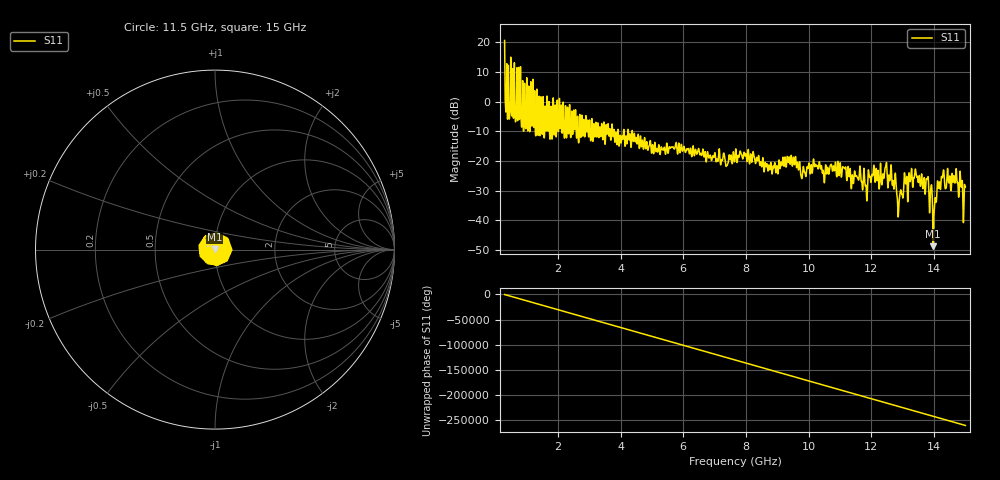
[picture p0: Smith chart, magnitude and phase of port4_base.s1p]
# GHZ S RI R 50.0
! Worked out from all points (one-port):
!   12801 points, 300 MHz to 15 GHz, reference 50 ohm
!   lowest |S11| = -48.7 dB at 13.97 GHz (marker M1), VSWR 1.01, Z = 49.7 + j0.267 ohm
!   |S11| at or under -10 dB: 3.924 GHz to 4.096 GHz (172.1 MHz wide, 4.29 % of centre); 4.11 GHz to 4.232 GHz (121.4 MHz wide, 2.91 % of centre); 4.375 GHz to end of sweep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
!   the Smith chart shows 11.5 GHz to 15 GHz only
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0.3  -9.788 -4.299
0.3746484  1.536 -1.165
0.3780938  -0.2856 -1.214
0.4182891  -2.756 -3.006
0.4240313  0.3305 1.592
0.7490391  -0.048 1.383
0.9075234  -0.2069 -0.2449
2.1375  0.2185 0.197
3.975  -0.0309 -0.2309
5.8125  -0.0821 0.1048
7.65  0.0414 -0.0989
8.963812  0.000938 0.0669
9.4875  -0.0837 -0.0118
9.811359  -0.0528 0.0435
10.20872  0.0543 -0.0661
11.325  0.0458 0.0579
11.8039  -0.0316 0.0215
12.43324  -0.0594 0.0438
12.69738  -0.0403 -0.0232
12.87654  -0.0173 -0.00161
13.1625  -0.00284 0.0205
13.41056  0.0101 0.071
13.7505  -0.0498 0.00533
13.971  -0.00252 0.00269
14.02268  0.000717 -0.0199
14.27534  -0.0322 0.0457
14.64858  0.0356 0.0311
15  0.0351 -0.0109
